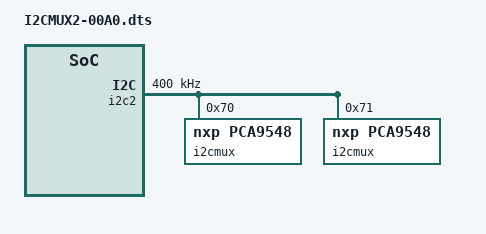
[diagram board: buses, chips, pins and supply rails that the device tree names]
/*
 * Copyright (C) 2012 Texas Instruments Incorporated - http://www.ti.com/
 *
 * This program is free software; you can redistribute it and/or modify
 * it under the terms of the GNU General Public License version 2 as
 * published by the Free Software Foundation.
 */

/* 
                USEFUL INFO
Pin Mask:
Bit 	Description
6 	Slew Control. Slew Rate: Fast is 0, Slow is 1
5 	Receiver Active. Input Enable: Receiver Disable 0, Receiver Enable 1
4 	Pad Pullup/Pulldown Type. Pullup is 1, Pulldown is 0
3 	Pad Pullup/Pulldown enable. Enabled is 0, Disabled is 1
2-0 	Mode. Pad functional mux select. A number between 0 and 7 i.e. 000 and 111. This depends on which mode we require. 

Compile:
dtc -O dtb -o I2CMUX-00A0.dtbo -b 0 -@ I2CMUX-00A0.dts

*/

/dts-v1/;
/plugin/;
/*
#include "am335x-bbw-bbb-base.h"
#include "am33xx.h"
*/
/ {
	compatible = "ti,beaglebone", "ti,beaglebone-black", "ti,beaglebone-green";

	/* identification */
	part-number = "I2CMUX2";
	version = "00A0";

	/* state the resources this cape uses */
	exclusive-use =
		/* the pin header uses */
   
		"P9.19",	// i2c2_sda
		"P9.20",	// i2c2_scl
		/* the hardware ip uses */
        "i2c2";

    aliases {
        i2c10 = &im0;
        i2c11 = &im1;
        i2c12 = &im2;
        i2c13 = &im3;
        i2c14 = &im4;
        i2c15 = &im5;
        i2c16 = &im6;
        i2c17 = &im7;
        i2c18 = &im8;
        i2c19 = &im9;
        i2c20 = &im10;
        i2c21 = &im11;
        i2c22 = &im12;
        i2c23 = &im13;
        i2c24 = &im14;
        i2c25 = &im15;    
    }; 
    
	/*fragment@0 {
		target-path="/";
		__overlay__ {

			chosen {
				overlays {
					I2CMUX-00A0 = __TIMESTAMP__;
				};
			};
		};
	}; */  

	/*
	 * Free up the pins used by the cape from the pinmux helpers.
	 */
	fragment@0 {
		target = <&ocp>;
		__overlay__ {
			P9_19_pinmux { status = "disabled"; };	/* i2c2_scl */
			P9_20_pinmux { status = "disabled"; };	/* i2c2_sda */
		};
	};

	fragment@1 {
		target = <&am33xx_pinmux>;
		__overlay__ {
			bb_i2c2_pins: pinmux_bb_i2c2_pins {
				pinctrl-single,pins = <
					0x178 0x73	/* i2c2_sda, SLEWCTRL_SLOW | INPUT_PULLUP | MODE3 */
					0x17c 0x73	/* i2c2_scl, SLEWCTRL_SLOW | INPUT_PULLUP | MODE3 */
				>;
			};
		};
	};

	fragment@2 {
		target = <&i2c2>;
		__overlay__ {
			status = "okay";
			pinctrl-names = "default";
			pinctrl-0 = <&bb_i2c2_pins>;
			/* this is the configuration part */
			clock-frequency = <400000>;

			#address-cells = <1>;
			#size-cells = <0>;

			/* PCA9548 I2C multiplexer */
			i2cmux@70 {
				#address-cells = <1>;
				#size-cells = <0>;
				compatible = "nxp,pca9548";
				reg = <0x70>;

				im0: i2c@0 {
					#address-cells = <1>;
					#size-cells = <0>;
					compatible = "nxp,pca954x";
					reg = <0>;
					deselect_on_exit;
				};
				im1: i2c@1 {
					#address-cells = <1>;
					#size-cells = <0>;
					compatible = "nxp,pca954x";
					reg = <1>;
					deselect_on_exit;
				};
				im2: i2c@2 {
					#address-cells = <1>;
					#size-cells = <0>;
					compatible = "nxp,pca954x";
					reg = <2>;
					deselect_on_exit;
				};
				im3: i2c@3 {
					#address-cells = <1>;
					#size-cells = <0>;
					compatible = "nxp,pca954x";
					reg = <3>;
					deselect_on_exit;
				};
				im4: i2c@4 {
					#address-cells = <1>;
					#size-cells = <0>;
					compatible = "nxp,pca954x";
					reg = <4>;
					deselect_on_exit;
				};
				im5: i2c@5 {
					#address-cells = <1>;
					#size-cells = <0>;
					compatible = "nxp,pca954x";
					reg = <5>;
					deselect_on_exit;
				};
				im6: i2c@6 {
					#address-cells = <1>;
					#size-cells = <0>;
					compatible = "nxp,pca954x";
					reg = <6>;
					deselect_on_exit;
				};
				im7: i2c@7 {
					#address-cells = <1>;
					#size-cells = <0>;
					compatible = "nxp,pca954x";
					reg = <7>;
					deselect_on_exit;
				};                
			};
            
			i2cmux@71 {
				#address-cells = <1>;
				#size-cells = <0>;
				compatible = "nxp,pca9548";
				reg = <0x71>;

				im8: i2c@0 {
					#address-cells = <1>;
					#size-cells = <0>;
					compatible = "nxp,pca954x";
					reg = <0>;
					deselect_on_exit;
				};
				im9: i2c@1 {
					#address-cells = <1>;
					#size-cells = <0>;
					compatible = "nxp,pca954x";
					reg = <1>;
					deselect_on_exit;
				};
				im10: i2c@2 {
					#address-cells = <1>;
					#size-cells = <0>;
					compatible = "nxp,pca954x";
					reg = <2>;
					deselect_on_exit;
				};
				im11: i2c@3 {
					#address-cells = <1>;
					#size-cells = <0>;
					compatible = "nxp,pca954x";
					reg = <3>;
					deselect_on_exit;
				};
				im12: i2c@4 {
					#address-cells = <1>;
					#size-cells = <0>;
					compatible = "nxp,pca954x";
					reg = <4>;
					deselect_on_exit;
				};
				im13: i2c@5 {
					#address-cells = <1>;
					#size-cells = <0>;
					compatible = "nxp,pca954x";
					reg = <5>;
					deselect_on_exit;
				};
				im14: i2c@6 {
					#address-cells = <1>;
					#size-cells = <0>;
					compatible = "nxp,pca954x";
					reg = <6>;
					deselect_on_exit;
				};
				im15: i2c@7 {
					#address-cells = <1>;
					#size-cells = <0>;
					compatible = "nxp,pca954x";
					reg = <7>;
					deselect_on_exit;
				};                
			};            
		};
	};
  

};








